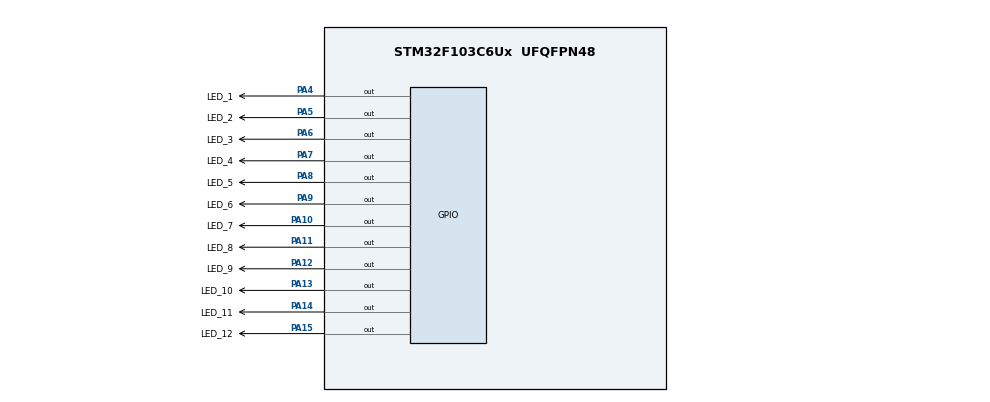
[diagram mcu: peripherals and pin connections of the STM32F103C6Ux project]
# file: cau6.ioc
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Mcu.Family=STM32F1
Mcu.Name=STM32F103C6Ux
Mcu.Package=UFQFPN48
NVIC.PriorityGroup=NVIC_PRIORITYGROUP_4
PA10.GPIO_Label=LED_7
PA10.Signal=GPIO_Output
PA11.GPIO_Label=LED_8
PA11.Signal=GPIO_Output
PA12.GPIO_Label=LED_9
PA12.Signal=GPIO_Output
PA13.GPIO_Label=LED_10
PA13.Signal=GPIO_Output
PA14.GPIO_Label=LED_11
PA14.Signal=GPIO_Output
PA15.GPIO_Label=LED_12
PA15.Signal=GPIO_Output
PA4.GPIO_Label=LED_1
PA4.Signal=GPIO_Output
PA5.GPIO_Label=LED_2
PA5.Signal=GPIO_Output
PA6.GPIO_Label=LED_3
PA6.Signal=GPIO_Output
PA7.GPIO_Label=LED_4
PA7.Signal=GPIO_Output
PA8.GPIO_Label=LED_5
PA8.Signal=GPIO_Output
PA9.GPIO_Label=LED_6
PA9.Signal=GPIO_Output
ProjectManager.HeapSize=0x200
ProjectManager.StackSize=0x400
ProjectManager.TargetToolchain=STM32CubeIDE
RCC.APB1Freq_Value=8000000
RCC.APB2Freq_Value=8000000
board=custom

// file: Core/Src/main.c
/* USER CODE BEGIN Header */
/**
  ******************************************************************************
  * @file           : main.c
  * @brief          : Main program body
  ******************************************************************************
  * @attention
  *
  * Copyright (c) 2022 STMicroelectronics.
  * All rights reserved.
  *
  * This software is licensed under terms that can be found in the LICENSE file
  * in the root directory of this software component.
  * If no LICENSE file comes with this software, it is provided AS-IS.
  *
  ******************************************************************************
  */
/* USER CODE END Header */
#include "main.h"

/* USER CODE BEGIN PV */

int dem = 0;

/* USER CODE END PV */

void SystemClock_Config(void);
static void MX_GPIO_Init(void);
/* USER CODE BEGIN PFP */

void clearAllClock ()
{
	 HAL_GPIO_WritePin(LED_1_GPIO_Port,LED_1_Pin,1);
	 HAL_GPIO_WritePin(LED_2_GPIO_Port,LED_2_Pin,1);
	 HAL_GPIO_WritePin(LED_3_GPIO_Port,LED_3_Pin,1);
	 HAL_GPIO_WritePin(LED_4_GPIO_Port,LED_4_Pin,1);
	 HAL_GPIO_WritePin(LED_5_GPIO_Port,LED_5_Pin,1);
	 HAL_GPIO_WritePin(LED_6_GPIO_Port,LED_6_Pin,1);
	 HAL_GPIO_WritePin(LED_7_GPIO_Port,LED_7_Pin,1);
	 HAL_GPIO_WritePin(LED_8_GPIO_Port,LED_8_Pin,1);
	 HAL_GPIO_WritePin(LED_9_GPIO_Port,LED_9_Pin,1);
	 HAL_GPIO_WritePin(LED_10_GPIO_Port,LED_10_Pin,1);
	 HAL_GPIO_WritePin(LED_11_GPIO_Port,LED_11_Pin,1);
	 HAL_GPIO_WritePin(LED_12_GPIO_Port,LED_12_Pin,1);
}

/* USER CODE END PFP */

int main(void)
{

  /* MCU Configuration--------------------------------------------------------*/

  /* Reset of all peripherals, Initializes the Flash interface and the Systick. */
  HAL_Init();

  /* Configure the system clock */
  SystemClock_Config();

  /* Initialize all configured peripherals */
  MX_GPIO_Init();

  /* Infinite loop */
  /* USER CODE BEGIN WHILE */
  while (1)
  {
	  clearAllClock();
	  if (dem == 0)
	  {
		  HAL_GPIO_WritePin(LED_1_GPIO_Port,LED_1_Pin,0);
	  }
	  if (dem == 1)
	  {
		  HAL_GPIO_WritePin(LED_2_GPIO_Port,LED_2_Pin,0);
	  }
	  if (dem == 2)
	  {
		  HAL_GPIO_WritePin(LED_3_GPIO_Port,LED_3_Pin,0);
	  }
	  if (dem == 3)
	  {
		  HAL_GPIO_WritePin(LED_4_GPIO_Port,LED_4_Pin,0);
	  }
	  if (dem == 4)
	  {
		  HAL_GPIO_WritePin(LED_5_GPIO_Port,LED_5_Pin,0);
	  }
	  if (dem == 5)
	  {
		  HAL_GPIO_WritePin(LED_6_GPIO_Port,LED_6_Pin,0);
	  }
	  if (dem == 6)
	  {
		  HAL_GPIO_WritePin(LED_7_GPIO_Port,LED_7_Pin,0);
	  }
	  if (dem == 7)
	  {
		  HAL_GPIO_WritePin(LED_8_GPIO_Port,LED_8_Pin,0);
	  }
	  if (dem == 8)
	  {
		  HAL_GPIO_WritePin(LED_9_GPIO_Port,LED_9_Pin,0);
	  }
	  if (dem == 9)
	  {
		  HAL_GPIO_WritePin(LED_10_GPIO_Port,LED_10_Pin,0);
	  }
	  if (dem == 10)
	  {
		  HAL_GPIO_WritePin(LED_11_GPIO_Port,LED_11_Pin,0);
	  }
	  if (dem == 11)
	  {
		  HAL_GPIO_WritePin(LED_12_GPIO_Port,LED_12_Pin,0);
	  }

	  dem++;
	  if(dem == 12)
		  dem = 0;

	  HAL_Delay (1000);
    /* USER CODE END WHILE */

  }
}

void SystemClock_Config(void)
{
  RCC_OscInitTypeDef RCC_OscInitStruct = {0};
  RCC_ClkInitTypeDef RCC_ClkInitStruct = {0};

  /** Initializes the RCC Oscillators according to the specified parameters
  * in the RCC_OscInitTypeDef structure.
  */
  RCC_OscInitStruct.OscillatorType = RCC_OSCILLATORTYPE_HSI;
  RCC_OscInitStruct.HSIState = RCC_HSI_ON;
  RCC_OscInitStruct.HSICalibrationValue = RCC_HSICALIBRATION_DEFAULT;
  RCC_OscInitStruct.PLL.PLLState = RCC_PLL_NONE;
  if (HAL_RCC_OscConfig(&RCC_OscInitStruct) != HAL_OK)
  {
    Error_Handler();
  }

  /** Initializes the CPU, AHB and APB buses clocks
  */
  RCC_ClkInitStruct.ClockType = RCC_CLOCKTYPE_HCLK|RCC_CLOCKTYPE_SYSCLK
                              |RCC_CLOCKTYPE_PCLK1|RCC_CLOCKTYPE_PCLK2;
  RCC_ClkInitStruct.SYSCLKSource = RCC_SYSCLKSOURCE_HSI;
  RCC_ClkInitStruct.AHBCLKDivider = RCC_SYSCLK_DIV1;
  RCC_ClkInitStruct.APB1CLKDivider = RCC_HCLK_DIV1;
  RCC_ClkInitStruct.APB2CLKDivider = RCC_HCLK_DIV1;

  if (HAL_RCC_ClockConfig(&RCC_ClkInitStruct, FLASH_LATENCY_0) != HAL_OK)
  {
    Error_Handler();
  }
}

static void MX_GPIO_Init(void)
{
  GPIO_InitTypeDef GPIO_InitStruct = {0};

  /* GPIO Ports Clock Enable */
  __HAL_RCC_GPIOA_CLK_ENABLE();

  /*Configure GPIO pin Output Level */
  HAL_GPIO_WritePin(GPIOA, LED_1_Pin|LED_2_Pin|LED_3_Pin|LED_4_Pin
                          |LED_5_Pin|LED_6_Pin|LED_7_Pin|LED_8_Pin
                          |LED_9_Pin|LED_10_Pin|LED_11_Pin|LED_12_Pin, GPIO_PIN_RESET);

  /*Configure GPIO pins : LED_1_Pin LED_2_Pin LED_3_Pin LED_4_Pin
                           LED_5_Pin LED_6_Pin LED_7_Pin LED_8_Pin
                           LED_9_Pin LED_10_Pin LED_11_Pin LED_12_Pin */
  GPIO_InitStruct.Pin = LED_1_Pin|LED_2_Pin|LED_3_Pin|LED_4_Pin
                          |LED_5_Pin|LED_6_Pin|LED_7_Pin|LED_8_Pin
                          |LED_9_Pin|LED_10_Pin|LED_11_Pin|LED_12_Pin;
  GPIO_InitStruct.Mode = GPIO_MODE_OUTPUT_PP;
  GPIO_InitStruct.Pull = GPIO_NOPULL;
  GPIO_InitStruct.Speed = GPIO_SPEED_FREQ_LOW;
  HAL_GPIO_Init(GPIOA, &GPIO_InitStruct);

}

void Error_Handler(void)
{
  __disable_irq();
  while (1)
  {
  }
}
